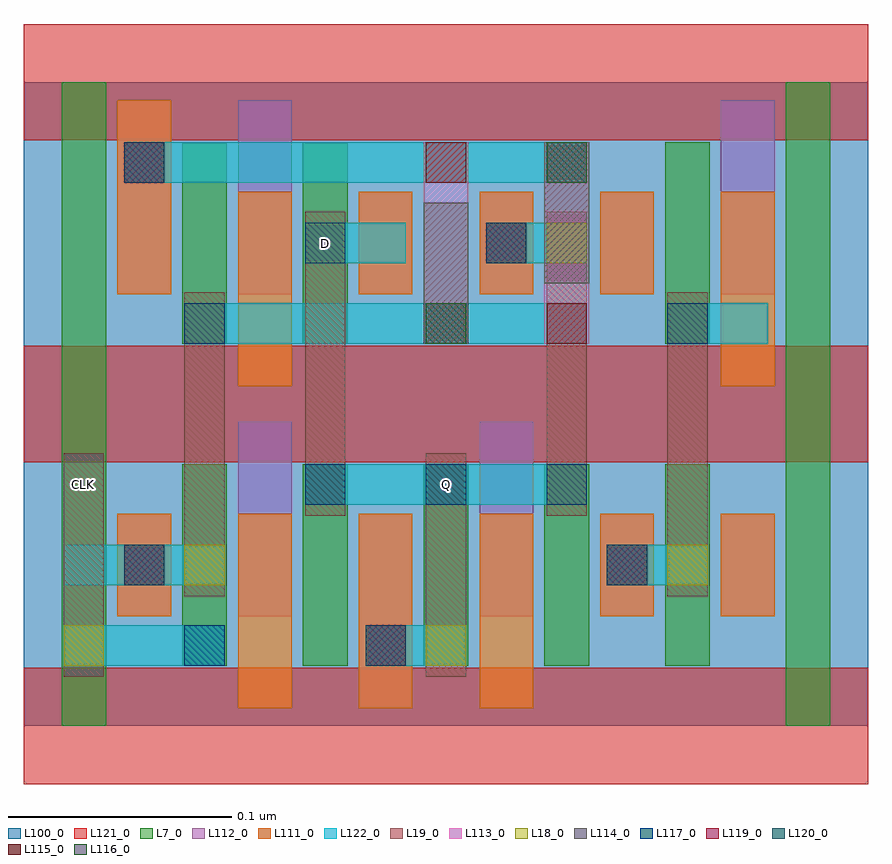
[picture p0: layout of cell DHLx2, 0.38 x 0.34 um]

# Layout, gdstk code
import gdstk
lib = gdstk.Library(unit=1e-6, precision=2.5e-10)
def R(c, l, rs):  # rectangles x0, y0, x1, y1
    for r in rs: c.add(gdstk.rectangle(r[:2], r[2:], *l))
def A(c, l, x, y, w, h, nx, ny, dx, dy):  # array of equal rectangles
    R(c, l, [(x+i*dx, y+j*dy, x+i*dx+w, y+j*dy+h) for i in range(nx) for j in range(ny)])
L7_0 = (7, 0)
L18_0 = (18, 0)
L19_0 = (19, 0)
L100_0 = (100, 0)
L111_0 = (111, 0)
L112_0 = (112, 0)
L113_0 = (113, 0)
L114_0 = (114, 0)
L115_0 = (115, 0)
L116_0 = (116, 0)
L117_0 = (117, 0)
L119_0 = (119, 0)
L120_0 = (120, 0)
L121_0 = (121, 0)
L122_0 = (122, 0)

dhlx2 = lib.new_cell('DHLx2')
A(dhlx2, L7_0, 0.071, 0.027, 0.02, 0.09, 5, 1, 0.054, 0)
R(dhlx2, L7_0, [(0.017,0,0.037,0.144), (0.341,0,0.361,0.144), (0.017,0.144,0.037,0.288), (0.341,0.144,0.361,0.288), (0.071,0.171,0.091,0.261), (0.125,0.171,0.145,0.261), (0.287,0.171,0.307,0.261)])
R(dhlx2, L18_0, [(0.018,0.027,0.036,0.045), (0.18,0.027,0.198,0.045), (0.072,0.063,0.09,0.081), (0.288,0.063,0.306,0.081), (0.234,0.099,0.252,0.117), (0.072,0.171,0.09,0.189), (0.288,0.171,0.306,0.189), (0.126,0.207,0.144,0.225), (0.234,0.207,0.252,0.225)])
R(dhlx2, L19_0, [(0.018,0.022,0.036,0.122), (0.18,0.022,0.198,0.122), (0.072,0.058,0.09,0.194), (0.288,0.058,0.306,0.194), (0.126,0.094,0.144,0.23), (0.234,0.094,0.252,0.23)])
R(dhlx2, L100_0, [(0,0,0.378,0.288)])
A(dhlx2, L111_0, 0.096, 0.008, 0.024, 0.087, 3, 1, 0.054, 0)
A(dhlx2, L111_0, 0.15, 0.193, 0.024, 0.046, 3, 1, 0.054, 0)
R(dhlx2, L111_0, [(0.042,0.049,0.066,0.095), (0.258,0.049,0.282,0.095), (0.312,0.049,0.336,0.095), (0.096,0.152,0.12,0.239), (0.312,0.152,0.336,0.239), (0.042,0.193,0.066,0.28)])
A(dhlx2, L112_0, 0.15, 0.193, 0.024, 0.046, 3, 1, 0.054, 0)
R(dhlx2, L112_0, [(0.15,0.008,0.174,0.095), (0.042,0.049,0.066,0.095), (0.096,0.049,0.12,0.136), (0.204,0.049,0.228,0.136), (0.258,0.049,0.282,0.095), (0.312,0.049,0.336,0.095), (0.042,0.193,0.066,0.28), (0.096,0.193,0.12,0.28), (0.312,0.193,0.336,0.28)])
R(dhlx2, L113_0, [(0.179,0.171,0.199,0.261), (0.233,0.171,0.253,0.261)])
R(dhlx2, L114_0, [(0.179,0.171,0.199,0.234), (0.233,0.198,0.253,0.261)])
R(dhlx2, L115_0, [(0.234,0.171,0.252,0.189), (0.18,0.243,0.198,0.261)])
R(dhlx2, L116_0, [(0.18,0.171,0.198,0.189), (0.234,0.243,0.252,0.261)])
A(dhlx2, L117_0, 0.126, 0.099, 0.018, 0.018, 3, 1, 0.054, 0)
R(dhlx2, L117_0, [(0.072,0.027,0.09,0.045), (0.072,0.171,0.09,0.189), (0.288,0.171,0.306,0.189), (0.126,0.207,0.144,0.225)])
R(dhlx2, L119_0, [(0.153,0.027,0.171,0.045), (0.045,0.063,0.063,0.081), (0.261,0.063,0.279,0.081), (0.207,0.207,0.225,0.225), (0.045,0.243,0.063,0.261)])
R(dhlx2, L120_0, [(0.153,0.027,0.171,0.045), (0.045,0.063,0.063,0.081), (0.261,0.063,0.279,0.081), (0.207,0.207,0.225,0.225), (0.045,0.243,0.063,0.261)])
A(dhlx2, L121_0, 0, -0.026, 0.378, 0.052, 1, 3, 0, 0.144)
R(dhlx2, L122_0, [(0.018,0.027,0.09,0.045), (0.153,0.027,0.198,0.045), (0.018,0.063,0.09,0.081), (0.261,0.063,0.306,0.081), (0.126,0.099,0.252,0.117), (0.072,0.171,0.252,0.189), (0.288,0.171,0.333,0.189), (0.126,0.207,0.171,0.225), (0.207,0.207,0.252,0.225), (0.045,0.243,0.252,0.261)])
dhlx2.add(gdstk.Label('Q', (0.189,0.108), layer=19, texttype=251))
dhlx2.add(gdstk.Label('D', (0.135,0.216), layer=19, texttype=251))
dhlx2.add(gdstk.Label('CLK', (0.027,0.108), layer=19, texttype=251))

lib.write_gds('DHLx2.gds')
